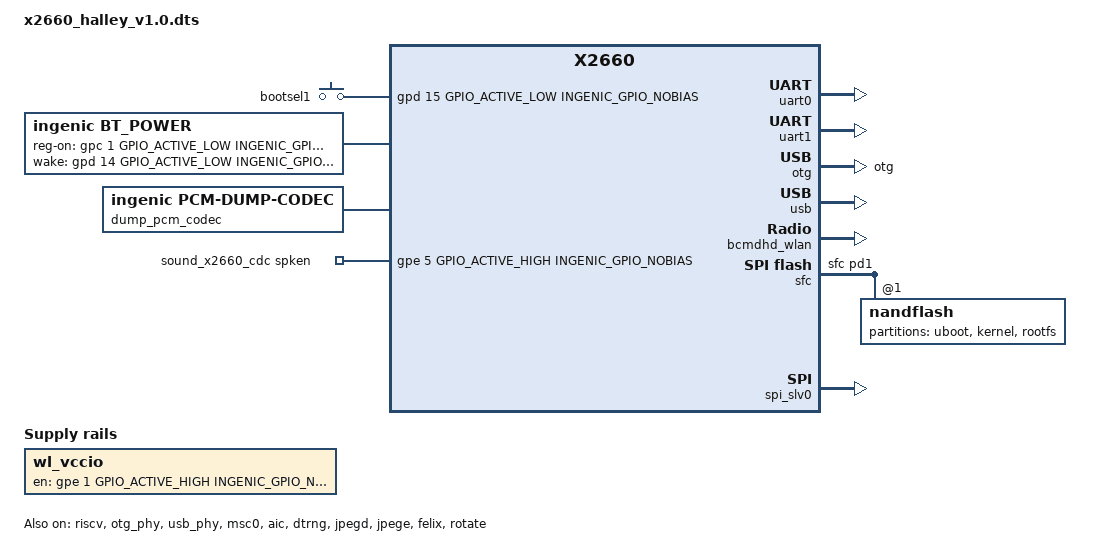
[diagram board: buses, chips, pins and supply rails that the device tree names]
/dts-v1/;

#include <dt-bindings/input/input.h>
#include "x2600.dtsi"
#include <dt-bindings/interrupt-controller/irq.h>
#include <generated/autoconf.h>

/ {
	compatible = "ingenic,x2660-halley-board-v1.0", "ingenic,x2660";
	chosen {
		bootargs = "console=ttyS0,115200 mem=128M@0x0 ip=off init=/linuxrc ubi.mtd=2 root=ubi0:rootfs ubi.mtd=3 rootfstype=ubifs rw flashtype=nand";
		/*bootargs = "console=ttyS0,115200 mem=128M@0x0 ip=off init=/linuxrc rootfstype=jffs2 root=/dev/mtdblock2 rw flashtype=nor";*/
	};

	wl_vccio: wl-regulator {
		  compatible = "regulator-fixed";
		  regulator-name = "wl_vccio";
		  gpio = <&gpe 1 GPIO_ACTIVE_HIGH INGENIC_GPIO_NOBIAS>;
		  enable-active-high;
	};

	reserved-memory {
		#address-cells = <1>;
		#size-cells = <1>;
		ranges =<>;

		reserved_memory: reserved_mem@6000000{
		      compatible = "shared-dma-pool";
		      reg = <0x06000000 0x2000000>;
		};
		vdev0vring0: vdev0vring0@12400000{
		    compatible = "shared-dma-pool";
			reg = <0x12400000 0x1000>;
			no-map;
		};

		vdev0vring1: vdev0vring1@12401000{
		    compatible = "shared-dma-pool";
			reg = <0x12401000 0x1000>;
			no-map;
		};

		vdev0buffer: vdev0buffer@07F50000{
			 compatible = "shared-dma-pool";
			 reg = <0x07F50000 0x8000>;
		 };

		riscv_mcu_ram: riscv_mcu_ram@07F00000{
			 compatible = "shared-dma-pool";
			 reg = <0x07F00000 0x50000>;

		 };
	};
};

&riscv {
	status = "okay";
	memory-region=<&vdev0buffer &vdev0vring0 &vdev0vring1>;
	load-addr=<0x07f00000>;
};

&uart0 {
	status = "okay";
	pinctrl-names = "default";
	pinctrl-0 = <&uart0_pe>;
};

&uart1 {
	status = "okay";
	pinctrl-names = "default";
	pinctrl-0 = <&uart1_pc>;
};

&otg {
	dr_mode = "otg"; // host,peripheral,otg
	device-using-dma = <1>;
	status = "okay";
};

&usb {
	device-using-dma = <1>;
	status = "okay";
};

&otg_phy {
	status = "okay";
};

&usb_phy {
	status = "okay";
};

&msc0 {
	status = "okay";
	/*mmc-hs200-1_8v;*/
	pinctrl-names ="default","enable", "disable";
	pinctrl-0 = <&msc0_4bit>;
	pinctrl-1 = <&rtc32k_enable>;
	pinctrl-2 = <&rtc32k_disable>;

	cap-mmc-highspeed;
	max-frequency = <50000000>;
	bus-width = <4>;
	non-removable;
	voltage-ranges = <1800 3300>;

	ingenic,sdio_clk = <1>;
	keep-power-in-suspend;

	/* special property */
	ingenic,wp-gpios = <0>;
	ingneic,cd-gpios = <0>;
	ingenic,rst-gpios = <0>;
	ingenic,removal-manual; /*removal-dontcare, removal-nonremovable, removal-removable, removal-manual*/

	bcmdhd_wlan: bcmdhd_wlan {
		 compatible = "android,bcmdhd_wlan";
		 wl_vccio-supply = <&wl_vccio>;
		 ingenic,sdio-irq = <&gpd 12 IRQ_TYPE_LEVEL_HIGH INGENIC_GPIO_NOBIAS>;
		 ingenic,sdio-reset = <&gpc 0 GPIO_ACTIVE_LOW INGENIC_GPIO_NOBIAS>;
	};
};


&sfc {
	status = "okay";
	pinctrl-names = "default";
	pinctrl-0 = <&sfc_pd1>;
	ingenic,sfc-max-frequency = <200000000>;
	ingenic,sfc-init-frequency= <40000000>;
	ingenic,use_ofpart_info  = /bits/ 8 <0>;
	ingenic,spiflash_param_offset = <0>;

	nandflash@1 {
		partitions {
		compatible = "fixed-partitions";
		#address-cells = <1>;
		#size-cells = <1>;
		/* spi nand flash partition */
		partition@0 {
			label = "uboot";
			reg = <0x0000000 0x100000>;
		/*read-only;*/
		};
		partition@100000 {
			label = "kernel";
			reg = <0x100000 0x800000>;
		};
		partition@900000 {
			label = "rootfs";
			reg = <0x900000 0xf700000>;
		};
		};
	};

};

&aic {
	status = "okay";
};

&dmic {
	status = "disable";
	pinctrl-names = "default";
	pinctrl-0 = <&dmic_pc_2ch>;
};

&spi0 {
	status = "disabled";
	pinctrl-names = "default";
	pinctrl-0 = <&spi0_pb>;
	spi-max-frequency = <54000000>;
	num-cs = <2>;
	/* cs-gpios = <0>, <0>; */
	/* cs-gpios = <&gpb 17 GPIO_ACTIVE_HIGH INGENIC_GPIO_NOBIAS>, <&gpb 16 GPIO_ACTIVE_HIGH INGENIC_GPIO_NOBIAS>; */
	ingenic,chnl = <0>;
	ingenic,allow_cs_same = <1>;
	ingenic,bus_num = <0>;
	ingenic,has_dma_support = <0>;
	ingenic,spi-src-clk = <1>;/*0.ext; 1.ssi*/

	/* Add SPI interface device */
	spidev: spidev@0 {
		compatible = "rohm,dh2228fv";
		reg = <0>;
		spi-max-frequency = <10000000>;
	};
};

&spi_slv0 {
	status = "okay";
	pinctrl-names = "default";
	pinctrl-0 = <&spi_slv_pb>;
	ingenic,has_dma_support = <0>;
};

&efuse {
	status = "disabled";
	ingenic,efuse-en-gpio = <&gpe 6 GPIO_ACTIVE_LOW INGENIC_GPIO_NOBIAS>;
};

&dtrng {
	status = "okay";
};

&tcu0 {
	status = "disable";
};

&tcu1 {
	status = "disable";
};

// pcm的复用引脚为pc00 - pc03，在使用时注意引脚复用不要冲突，尤其是i2c0_pc和i2c1_pc
&pcm {
	status = "disable";
	ingenic,pcm-master-mode = <1>;
	pinctrl-names = "default";
	pinctrl-0 = <&pcm_pc>;
};

/ {

	extclk: extclk {
		clock-frequency = <24000000>;
	};

	gpio_keys: gpio_keys {
		   compatible = "gpio-keys";

		   bootsel1 {
			   label = "bootsel1";
			   linux,code = <KEY_BACK>;
			   gpios = <&gpd 15 GPIO_ACTIVE_LOW INGENIC_GPIO_NOBIAS>;
			   gpio-key,wakeup;
		   };
	};

	/*
	 * gpd 14 bt wakeup host
	 * gpd 13 host wakeup bt
	 */
	bt_power {
		compatible = "ingenic,bt_power";
		ingenic,reg-on-gpio = <&gpc 1 GPIO_ACTIVE_LOW INGENIC_GPIO_NOBIAS>;
		ingenic,wake-gpio = <&gpd 14 GPIO_ACTIVE_LOW INGENIC_GPIO_NOBIAS>;
		status = "okay";
	};

	watchdog {
		compatible = "sgm820-wdt";
		ingenic,sgm820-wdi = <&gpc 7 GPIO_ACTIVE_LOW INGENIC_GPIO_NOBIAS>;
		status = "okay";
	};

	dump_pcm_codec:dump_pcm_codec{
		compatible = "ingenic,pcm-dump-codec";
		status = "okay";
	};

	sound_x2660_cdc {
		status = "okay";
		compatible = "ingenic,x2660-halley-sound";
		ingenic,model = "x2660";
		ingenic,dai-link = "pcm", "i2s-icodec", "i2s-tloop", "dmic";
		ingenic,stream = "pcm", "i2s-icodec", "i2s-tloop", "dmic";
		ingenic,cpu-dai = <&pcm>, <&i2s>, <&i2s_tloop>, <&dmic>;
		ingenic,platform = <&pcm>, <&aic>, <&i2s_tloop>, <&dmic>;
		ingenic,codec =  <&dump_pcm_codec>, <&icodec>, <&dump_pcm_codec>, <&dmic>;
		ingenic,codec-dai = "pcm-dump", "icodec", "pcm-dump", "dmic-dump-codec";
		ingenic,audio-routing = "Speaker", "HPOUTL", "DACL", "MICBIAS" ,
			"ADCL",  "MICL",
			"ADCR",  "MICR";
		ingenic,spken-gpio = <&gpe 5 GPIO_ACTIVE_HIGH INGENIC_GPIO_NOBIAS>;
	};

	spi_gpio {
		status = "disabled";
		compatible = "spi-gpio";
		#address-cells = <1>;
		#size-cells = <0>;
		/*ranges;*/
		gpio-sck = <&gpd 0 GPIO_ACTIVE_LOW INGENIC_GPIO_NOBIAS>;
		gpio-miso = <&gpd 2 GPIO_ACTIVE_LOW INGENIC_GPIO_NOBIAS>;
		gpio-mosi = <&gpd 1 GPIO_ACTIVE_LOW INGENIC_GPIO_NOBIAS>;
		cs-gpios = <&gpd 5 GPIO_ACTIVE_LOW INGENIC_GPIO_NOBIAS>;
		num-chipselects = <1>;
		/* clients */
		spidev1: spidev1@0 {
			compatible = "rohm,dh2228fv";
			reg = <0>;
			spi-max-frequency = <500000>;
		};
	};
};


&icodec {
    dac2adc_enable = <0>;
};

&jpegd {
	status = "okay";
};

&jpege {
	status = "okay";
};

&felix {
	status = "okay";
	memory-region=<&reserved_memory>;
};

&rotate {
	status = "okay";
};

&pdma {
	status = "okay";
};

&pdma1 {
	status = "okay";
};


#ifdef CONFIG_STAGE_FW050
#include "x2660_halley_lcd/X2660_HALLEY_MIPI_LCD_FW050.dtsi"
#endif


#ifdef CONFIG_STAGE_HC050IG40031
#include "x2660_halley_lcd/X2660_HALLEY_RGB_LCD_HC050IG.dtsi"
#endif

#ifdef CONFIG_STAGE_ZC50289HSHD02
#include "x2660_halley_lcd/X2660_HALLEY_MIPI_LCD_ZC50289HSHD02.dtsi"
#endif


